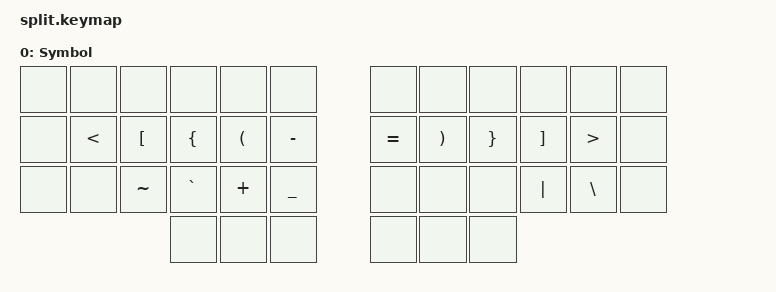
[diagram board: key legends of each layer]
#include <behaviors.dtsi>
#include <dt-bindings/zmk/keys.h>

/ {
    keymap {
        compatible = "zmk,keymap";

        Symbol {
            bindings = <
&none  &none          &none             &none           &none                 &none             &none      &none                  &none            &none              &none             &none
&none  &kp LESS_THAN  &kp LEFT_BRACKET  &kp LEFT_BRACE  &kp LEFT_PARENTHESIS  &kp MINUS         &kp EQUAL  &kp RIGHT_PARENTHESIS  &kp RIGHT_BRACE  &kp RIGHT_BRACKET  &kp GREATER_THAN  &none
&none  &none          &kp TILDE         &kp GRAVE       &kp PLUS              &kp UNDERSCORE    &none      &none                  &none            &kp PIPE           &kp BACKSLASH     &none
                                        &none           &none                 &none             &none      &none                  &none
            >;
        };
    };
};
